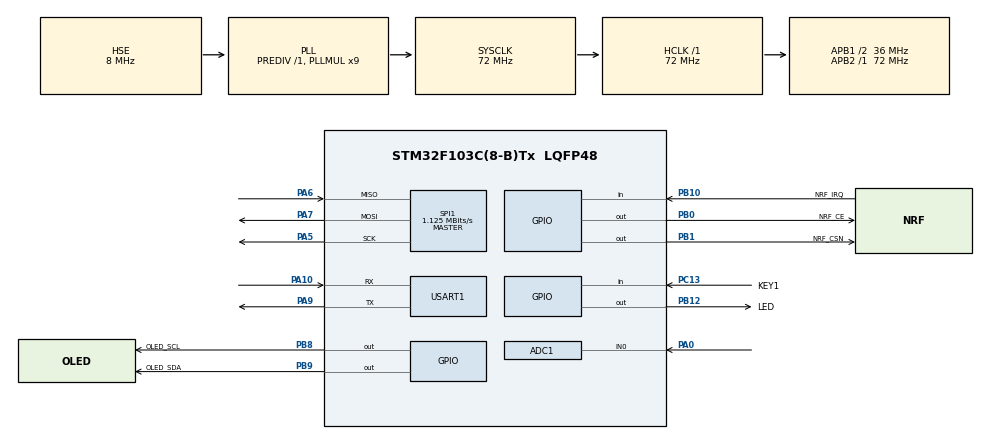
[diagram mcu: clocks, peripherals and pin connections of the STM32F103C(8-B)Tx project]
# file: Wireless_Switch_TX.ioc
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ADC1.Channel-1\#ChannelRegularConversion=ADC_CHANNEL_0
ADC1.NbrOfConversionFlag=1
ADC1.Rank-1\#ChannelRegularConversion=1
ADC1.SamplingTime-1\#ChannelRegularConversion=ADC_SAMPLETIME_1CYCLE_5
ADC1.master=1
Mcu.Family=STM32F1
Mcu.Name=STM32F103C(8-B)Tx
Mcu.Package=LQFP48
NVIC.PriorityGroup=NVIC_PRIORITYGROUP_4
PA0-WKUP.Signal=ADCx_IN0
PA10.Mode=Asynchronous
PA10.Signal=USART1_RX
PA13.Mode=Serial_Wire
PA13.Signal=SYS_JTMS-SWDIO
PA14.Mode=Serial_Wire
PA14.Signal=SYS_JTCK-SWCLK
PA5.Mode=Full_Duplex_Master
PA5.Signal=SPI1_SCK
PA6.Mode=Full_Duplex_Master
PA6.Signal=SPI1_MISO
PA7.Mode=Full_Duplex_Master
PA7.Signal=SPI1_MOSI
PA9.Mode=Asynchronous
PA9.Signal=USART1_TX
PB0.GPIO_Label=NRF_CE
PB0.Signal=GPIO_Output
PB1.GPIO_Label=NRF_CSN
PB1.PinState=GPIO_PIN_SET
PB1.Signal=GPIO_Output
PB10.GPIO_Label=NRF_IRQ
PB10.Signal=GPIO_Input
PB12.GPIO_Label=LED
PB12.Signal=GPIO_Output
PB8.GPIO_Label=OLED_SCL
PB8.GPIO_ModeDefaultOutputPP=GPIO_MODE_OUTPUT_OD
PB8.GPIO_PuPd=GPIO_PULLUP
PB8.GPIO_Speed=GPIO_SPEED_FREQ_HIGH
PB8.PinState=GPIO_PIN_SET
PB8.Signal=GPIO_Output
PB9.GPIO_Label=OLED_SDA
PB9.GPIO_ModeDefaultOutputPP=GPIO_MODE_OUTPUT_OD
PB9.GPIO_PuPd=GPIO_PULLUP
PB9.GPIO_Speed=GPIO_SPEED_FREQ_HIGH
PB9.PinState=GPIO_PIN_SET
PB9.Signal=GPIO_Output
PC13-TAMPER-RTC.GPIO_Label=KEY1
PC13-TAMPER-RTC.GPIO_PuPd=GPIO_PULLUP
PC13-TAMPER-RTC.Signal=GPIO_Input
PD0-OSC_IN.Mode=HSE-External-Oscillator
PD0-OSC_IN.Signal=RCC_OSC_IN
PD1-OSC_OUT.Mode=HSE-External-Oscillator
PD1-OSC_OUT.Signal=RCC_OSC_OUT
ProjectManager.HeapSize=0x200
ProjectManager.StackSize=0x400
ProjectManager.TargetToolchain=CMake
RCC.ADCPresc=RCC_ADCPCLK2_DIV8
RCC.AHBFreq_Value=72000000
RCC.APB1CLKDivider=RCC_HCLK_DIV2
RCC.APB1Freq_Value=36000000
RCC.APB1TimFreq_Value=72000000
RCC.APB2Freq_Value=72000000
RCC.APB2TimFreq_Value=72000000
RCC.HCLKFreq_Value=72000000
RCC.PLLMUL=RCC_PLL_MUL9
RCC.PLLSourceVirtual=RCC_PLLSOURCE_HSE
RCC.SYSCLKFreq_VALUE=72000000
RCC.SYSCLKSource=RCC_SYSCLKSOURCE_PLLCLK
RCC.USBFreq_Value=72000000
SH.ADCx_IN0.0=ADC1_IN0,IN0
SPI1.BaudRatePrescaler=SPI_BAUDRATEPRESCALER_64
SPI1.CalculateBaudRate=1.125 MBits/s
SPI1.Direction=SPI_DIRECTION_2LINES
SPI1.Mode=SPI_MODE_MASTER
SPI1.VirtualType=VM_MASTER
USART1.VirtualMode=VM_ASYNC
board=custom

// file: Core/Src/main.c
/* USER CODE BEGIN Header */
/**
  ******************************************************************************
  * @file           : main.c
  * @brief          : Main program body
  ******************************************************************************
  * @attention
  *
  * Copyright (c) 2026 STMicroelectronics.
  * All rights reserved.
  *
  * This software is licensed under terms that can be found in the LICENSE file
  * in the root directory of this software component.
  * If no LICENSE file comes with this software, it is provided AS-IS.
  *
  ******************************************************************************
  */
/* USER CODE END Header */
#include "main.h"
#include "adc.h"
#include "spi.h"
#include "usart.h"
#include "gpio.h"

/* USER CODE BEGIN Includes */
#include <stdio.h>
#include "OLED.h"
#include "nrf24l01p.h"
// 如果使用硬件I2C，取消注释下面这行
// #include "stm32f1xx_hal_i2c.h"
/* USER CODE END Includes */

/* USER CODE BEGIN PD */
#define NRF_PAIR_ID 5u  // nrf配对编号

static const uint8_t nrf_pair_addrs[][6] = {
  {0x12, 0x34, 0x56, 0x78, 0x9A}, // ID0
  {0xA1, 0xB2, 0xC3, 0xD4, 0xE5}, // ID1
  {0x55, 0x66, 0x77, 0x88, 0x99}, // ID2
  {0xAB, 0xCD, 0xEF, 0x11, 0x22}, // ID3
  {0x13, 0x57, 0x9B, 0xDF, 0x24}, // ID4
  {0x14, 0x58, 0x97, 0xD1, 0x25}, // ID5
};

// -------- 1. 电池参数 --------
// 电压计算系数：(3.3V / 4095) * 分压比 * 10 (转为0.1V)
// 原始代码逻辑: round(adc * 132 / 4095) -> 这里的 132 是经验值
#define BATT_CALC_FACTOR      132u
#define BATT_ADC_MAX          4095u
/* USER CODE END PD */

void SystemClock_Config(void);

/* USER CODE BEGIN 0 */
// adc_raw -> 0.1V 单位（四舍五入）
uint16_t Battery_AdcTo_0p1V(uint16_t adc_raw)
{
  return (uint16_t)(((uint32_t)adc_raw * BATT_CALC_FACTOR + (BATT_ADC_MAX / 2)) / BATT_ADC_MAX);//+2047是为了四舍五入
}

// 0.1V 单位 -> "x.yV"（手动拼字符，不用sprintf）
void Battery_0p1V_ToText(char *buf, uint16_t v_0p1)
{
  uint16_t v_int  = v_0p1 / 10u;  // 整数伏
  uint16_t v_frac = v_0p1 % 10u;  // 0.1伏

  // v_int 最大大概 0~13（单节锂电），所以最多两位
  int i = 0;

  if (v_int >= 10u) {
    buf[i++] = (char)('0' + (v_int / 10u));
    buf[i++] = (char)('0' + (v_int % 10u));
  } else {
    buf[i++] = (char)('0' + v_int);
  }

  buf[i++] = '.';
  buf[i++] = (char)('0' + v_frac);
  buf[i++] = 'V';
  buf[i++] = '\0';
}

//=====================电池end==================//

// 防弹版：将指令和数据打包成一个数组，一口气发出去，消除时钟间隙
void NRF_Force_Write_Reg(uint8_t reg, uint8_t value) {
  uint8_t buf[2] = { NRF24L01P_CMD_W_REGISTER | reg, value };
  HAL_GPIO_WritePin(GPIOB, GPIO_PIN_1, GPIO_PIN_RESET);
  HAL_SPI_Transmit(&hspi1, buf, 2, 100); // 连续发2个字节
  HAL_GPIO_WritePin(GPIOB, GPIO_PIN_1, GPIO_PIN_SET);
}

// 防弹版：使用 TransmitReceive 边发伪数据(0xFF)边接收真实数据
uint8_t NRF_Force_Read_Reg(uint8_t reg) {
  uint8_t tx_buf[2] = { NRF24L01P_CMD_R_REGISTER | reg, 0xFF };
  uint8_t rx_buf[2] = { 0, 0 };
  HAL_GPIO_WritePin(GPIOB, GPIO_PIN_1, GPIO_PIN_RESET);
  HAL_SPI_TransmitReceive(&hspi1, tx_buf, rx_buf, 2, 100); // 边发边收
  HAL_GPIO_WritePin(GPIOB, GPIO_PIN_1, GPIO_PIN_SET);
  return rx_buf[1]; // 返回第二个字节（真实数据）
}

// 防弹版：打包发送 5 字节地址
void NRF_Force_Set_Addr(uint8_t reg, uint8_t* addr) {
  uint8_t tx_buf[6];
  tx_buf[0] = NRF24L01P_CMD_W_REGISTER | reg;
  for(int i=0; i<5; i++) tx_buf[i+1] = addr[i];

  HAL_GPIO_WritePin(GPIOB, GPIO_PIN_1, GPIO_PIN_RESET);
  HAL_SPI_Transmit(&hspi1, tx_buf, 6, 100); // 连续发6个字节
  HAL_GPIO_WritePin(GPIOB, GPIO_PIN_1, GPIO_PIN_SET);
}

// 封装一个强力初始化函数，方便自愈调用
void Safe_NRF_Init(void) {
  nrf24l01p_tx_init(2500, _1Mbps);
  nrf24l01p_set_rf_tx_output_power(_12dBm); // 【关键修复1】降低功率，防止电池电压被拉垮导致单片机重启！

  uint8_t activate_cmd[2] = {0x50, 0x73};
  HAL_GPIO_WritePin(GPIOB, GPIO_PIN_1, GPIO_PIN_RESET);
  HAL_SPI_Transmit(&hspi1, activate_cmd, 2, 100);
  HAL_GPIO_WritePin(GPIOB, GPIO_PIN_1, GPIO_PIN_SET);

  NRF_Force_Write_Reg(NRF24L01P_REG_FEATURE, 0x06);
  NRF_Force_Write_Reg(NRF24L01P_REG_SETUP_RETR, 0x5F);
  NRF_Force_Write_Reg(NRF24L01P_REG_EN_AA, 0x01);
  NRF_Force_Write_Reg(NRF24L01P_REG_DYNPD, 0x01);
  NRF_Force_Write_Reg(NRF24L01P_REG_SETUP_AW, 0x03);
  NRF_Force_Write_Reg(NRF24L01P_REG_EN_RXADDR, 0x01);
  NRF_Force_Write_Reg(NRF24L01P_REG_RX_PW_P0, 8);

  const uint8_t *tx_addr = nrf_pair_addrs[NRF_PAIR_ID];
  NRF_Force_Set_Addr(NRF24L01P_REG_TX_ADDR, (uint8_t *)tx_addr);
  NRF_Force_Set_Addr(NRF24L01P_REG_RX_ADDR_P0, (uint8_t *)tx_addr);

  uint8_t config = NRF_Force_Read_Reg(NRF24L01P_REG_CONFIG);
  config |= 0x70;
  NRF_Force_Write_Reg(NRF24L01P_REG_CONFIG, config);

  nrf24l01p_flush_rx_fifo();
  nrf24l01p_flush_tx_fifo();
  NRF_Force_Write_Reg(NRF24L01P_REG_STATUS, 0x70);
}

// 记录远端开关的状态（0=关，1=开）
uint8_t remote_switch_state = 0;

/* USER CODE END 0 */

int main(void)
{

  /* MCU Configuration--------------------------------------------------------*/

  /* Reset of all peripherals, Initializes the Flash interface and the Systick. */
  HAL_Init();

  /* Configure the system clock */
  SystemClock_Config();

  /* Initialize all configured peripherals */
  MX_GPIO_Init();
  MX_SPI1_Init();
  MX_USART1_UART_Init();
  MX_ADC1_Init();
  // 如果使用硬件I2C，取消注释下面这行
  // MX_I2C1_Init();  // 现在在OLED.c中定义
  /* USER CODE BEGIN 2 */
  // 1. OLED 初始化与界面框架
  OLED_Init();
  OLED_Clear();
  // // 0.91寸(128x32)屏幕只有2行显示：Line 1/2
  OLED_ShowString(1, 1, "Bat:     ");
  OLED_ShowString(2, 1, "SW:OFF Sig:WAIT"); // 初始状态

  // 显示编号
  char id_str[6];
  sprintf(id_str, "ID:%d", NRF_PAIR_ID);
  OLED_ShowString(1, 11, id_str);

  nrf24l01p_tx_init(2500, _1Mbps);

  // ===================== 终极安全底层配置 =====================
  // 1. 安全解锁特性寄存器 (防止二次反转锁定)
  uint8_t feature = NRF_Force_Read_Reg(NRF24L01P_REG_FEATURE);
  if ((feature & 0x06) != 0x06) {
    NRF_Force_Write_Reg(NRF24L01P_REG_FEATURE, 0x06);
    if ((NRF_Force_Read_Reg(NRF24L01P_REG_FEATURE) & 0x06) != 0x06) {
      uint8_t activate_cmd[2] = {0x50, 0x73};
      HAL_GPIO_WritePin(GPIOB, GPIO_PIN_1, GPIO_PIN_RESET);
      HAL_SPI_Transmit(&hspi1, activate_cmd, 2, 100);
      HAL_GPIO_WritePin(GPIOB, GPIO_PIN_1, GPIO_PIN_SET);
      NRF_Force_Write_Reg(NRF24L01P_REG_FEATURE, 0x06);
    }
  }

  // 2. 覆盖带 Bug 的库函数，强制写入正确的重发与应答参数
  NRF_Force_Write_Reg(NRF24L01P_REG_SETUP_RETR, 0x5F); // ARD=1500us, ARC=15 (至关重要)
  NRF_Force_Write_Reg(NRF24L01P_REG_EN_AA, 0x01);
  NRF_Force_Write_Reg(NRF24L01P_REG_DYNPD, 0x01);
  NRF_Force_Write_Reg(NRF24L01P_REG_SETUP_AW, 0x03);
  NRF_Force_Write_Reg(NRF24L01P_REG_EN_RXADDR, 0x01);
  NRF_Force_Write_Reg(NRF24L01P_REG_RX_PW_P0, 8);      // 强制 8 字节，防乱码

  // 3. 配置地址
  const uint8_t *tx_addr = nrf_pair_addrs[NRF_PAIR_ID];
  NRF_Force_Set_Addr(NRF24L01P_REG_TX_ADDR, (uint8_t *)tx_addr);
  NRF_Force_Set_Addr(NRF24L01P_REG_RX_ADDR_P0, (uint8_t *)tx_addr);

  // 4. 屏蔽硬件中断引脚，防止单片机被外部干扰
  uint8_t config = NRF_Force_Read_Reg(NRF24L01P_REG_CONFIG);
  config |= 0x70;
  NRF_Force_Write_Reg(NRF24L01P_REG_CONFIG, config);

  nrf24l01p_flush_rx_fifo();
  nrf24l01p_flush_tx_fifo();
  NRF_Force_Write_Reg(NRF24L01P_REG_STATUS, 0x70);
  printf("TX Initialization Complete.\r\n");

  uint8_t tx_data[8] = {0xAA, 0x01, 0x02, 0x03, 0x04, 0x05, 0x06, 0xFF};
  char oled_buf[16];
  GPIO_PinState last_btn_state = GPIO_PIN_SET;
  uint32_t ping_counter = 0;

  /* USER CODE END 2 */

  /* Infinite loop */
  /* USER CODE BEGIN WHILE */

  while (1)
  {
    // =================== 读取并显示电池电量 ===================
    HAL_ADC_Start(&hadc1);
    HAL_ADC_PollForConversion(&hadc1, 100);
    uint16_t adc_value = HAL_ADC_GetValue(&hadc1);
    HAL_ADC_Stop(&hadc1);

    uint16_t voltage_0p1 = Battery_AdcTo_0p1V(adc_value);
    sprintf(oled_buf, "%d.%dV ", voltage_0p1 / 10, voltage_0p1 % 10);
    OLED_ShowString(1, 5, oled_buf); // 更新电压显示

    // 将电压数据打包，准备发送
    tx_data[1] = (uint8_t)(voltage_0p1 >> 8);
    tx_data[2] = (uint8_t)(voltage_0p1 & 0xFF);

    // =================== 3. 按键检测 与 数据发送逻辑 ===================
    GPIO_PinState current_btn_state = HAL_GPIO_ReadPin(GPIOC, GPIO_PIN_13);
    uint8_t need_to_send = 0;

    if (current_btn_state != last_btn_state) {
      HAL_Delay(20); // 软件消抖
      current_btn_state = HAL_GPIO_ReadPin(GPIOC, GPIO_PIN_13);

      if (current_btn_state != last_btn_state) {
        tx_data[3] = (current_btn_state == GPIO_PIN_RESET) ? 0x00 : 0x01;
        printf("[TX] Button Changed: %d\r\n", tx_data[3]);
        need_to_send = 1;
        ping_counter = 0;
        last_btn_state = current_btn_state;
      }
    } else {
      // 如果没有按键动作，每过约 1 秒钟主动发一次"心跳"查询功率
      ping_counter++;
      if (ping_counter >= 50) { // 50 * 20ms = 1000ms
        ping_counter = 0;
        tx_data[3] = 0xFF; // 0xFF 代表纯查询，RX收到后不改变开关状态
        need_to_send = 1;
      }
    }

    // 执行发送操作
     if (need_to_send) {
       // 【关键修复2】发送前健康检查，如果 NRF 跑飞了瞬间重启它
       if ((NRF_Force_Read_Reg(NRF24L01P_REG_SETUP_AW) & 0x03) != 0x03) {
         Safe_NRF_Init();
       }
      NRF_Force_Write_Reg(NRF24L01P_REG_STATUS, 0x70); // 清除状态位
      nrf24l01p_flush_rx_fifo(); // 发送前强清 RX 避免幽灵数据
      nrf24l01p_flush_tx_fifo();
      nrf24l01p_tx_transmit(tx_data);

      // CE 脉冲触发发射
      HAL_GPIO_WritePin(GPIOB, GPIO_PIN_0, GPIO_PIN_SET);
      HAL_Delay(1);
      HAL_GPIO_WritePin(GPIOB, GPIO_PIN_0, GPIO_PIN_RESET);

      // ============ 循环死等发送完毕 ============
      uint32_t timeout = 0;
      uint8_t status = 0;
      while (1) {
          status = NRF_Force_Read_Reg(NRF24L01P_REG_STATUS);
          if (status & 0x30) break; // TX_DS 或 MAX_RT 置位说明发完了
          if (++timeout > 50) break;    // 50ms 超时
          HAL_Delay(1);
      }

        // ============ 检查是否带回了功率数据 ============
        if (status & 0x40)
        {
          // RX_DR 表明收到了 ACK Payload
          uint8_t wid_cmd = 0x60; // 读取真实长度指令
          uint8_t wid = 0;
          HAL_GPIO_WritePin(GPIOB, GPIO_PIN_1, GPIO_PIN_RESET);
          HAL_SPI_Transmit(&hspi1, &wid_cmd, 1, 100);
          HAL_SPI_Receive(&hspi1, &wid, 1, 100);
          HAL_GPIO_WritePin(GPIOB, GPIO_PIN_1, GPIO_PIN_SET);

          if (wid > 0 && wid <= 32) {
            uint8_t rx_payload[32] = {0};
            uint8_t read_cmd = 0x61;
            HAL_GPIO_WritePin(GPIOB, GPIO_PIN_1, GPIO_PIN_RESET);
            HAL_SPI_Transmit(&hspi1, &read_cmd, 1, 100);
            HAL_SPI_Receive(&hspi1, rx_payload, wid, 100);
            HAL_GPIO_WritePin(GPIOB, GPIO_PIN_1, GPIO_PIN_SET);

            // 打印 TX 收到的 RX 返回数据 (带负载ACK)
            printf("[TX] Recv ACK Payload (Len=%d): %02X %02X %02X %02X %02X %02X %02X %02X\r\n",
                   wid, rx_payload[0], rx_payload[1], rx_payload[2], rx_payload[3],
                   rx_payload[4], rx_payload[5], rx_payload[6], rx_payload[7]);

            if (rx_payload[0] == 0xBB) {
              // 此时解析出来的 power 是毫瓦 (mW)
              uint16_t power_mw = (rx_payload[1] << 8) | rx_payload[2];
              // 提取第 3 字节的 MOS 管状态
              uint8_t rx_mos_state = rx_payload[3];
              char power_str[16];
              // %d 表示整数部分 (W)
              // %03d 表示小数部分，保留3位不够补零 (比如 20mW 显示为 .020)
              // 最后的 4 个空格用来彻底覆盖掉屏幕残留的 ig:WAIT
              // 根据状态拼接不同的字符串，同时保证末尾对齐覆盖
              if (rx_mos_state == 1) { // 1 代表高电平 (ON)
                sprintf(power_str, "P=%d.%03dW  ON    ", power_mw / 1000, power_mw % 1000);
              } else {                 // 0 代表低电平 (OFF)
                sprintf(power_str, "P=%d.%03dW  OFF   ", power_mw / 1000, power_mw % 1000);
              }

              OLED_ShowString(2, 1, power_str);
            }
          }
        }
        NRF_Force_Write_Reg(NRF24L01P_REG_STATUS, 0x70); // 彻底打扫战场
      }
    /* USER CODE END WHILE */

  }
}

void SystemClock_Config(void)
{
  RCC_OscInitTypeDef RCC_OscInitStruct = {0};
  RCC_ClkInitTypeDef RCC_ClkInitStruct = {0};
  RCC_PeriphCLKInitTypeDef PeriphClkInit = {0};

  /** Initializes the RCC Oscillators according to the specified parameters
  * in the RCC_OscInitTypeDef structure.
  */
  RCC_OscInitStruct.OscillatorType = RCC_OSCILLATORTYPE_HSE;
  RCC_OscInitStruct.HSEState = RCC_HSE_ON;
  RCC_OscInitStruct.HSEPredivValue = RCC_HSE_PREDIV_DIV1;
  RCC_OscInitStruct.HSIState = RCC_HSI_ON;
  RCC_OscInitStruct.PLL.PLLState = RCC_PLL_ON;
  RCC_OscInitStruct.PLL.PLLSource = RCC_PLLSOURCE_HSE;
  RCC_OscInitStruct.PLL.PLLMUL = RCC_PLL_MUL9;
  if (HAL_RCC_OscConfig(&RCC_OscInitStruct) != HAL_OK)
  {
    Error_Handler();
  }

  /** Initializes the CPU, AHB and APB buses clocks
  */
  RCC_ClkInitStruct.ClockType = RCC_CLOCKTYPE_HCLK|RCC_CLOCKTYPE_SYSCLK
                              |RCC_CLOCKTYPE_PCLK1|RCC_CLOCKTYPE_PCLK2;
  RCC_ClkInitStruct.SYSCLKSource = RCC_SYSCLKSOURCE_PLLCLK;
  RCC_ClkInitStruct.AHBCLKDivider = RCC_SYSCLK_DIV1;
  RCC_ClkInitStruct.APB1CLKDivider = RCC_HCLK_DIV2;
  RCC_ClkInitStruct.APB2CLKDivider = RCC_HCLK_DIV1;

  if (HAL_RCC_ClockConfig(&RCC_ClkInitStruct, FLASH_LATENCY_2) != HAL_OK)
  {
    Error_Handler();
  }
  PeriphClkInit.PeriphClockSelection = RCC_PERIPHCLK_ADC;
  PeriphClkInit.AdcClockSelection = RCC_ADCPCLK2_DIV8;
  if (HAL_RCCEx_PeriphCLKConfig(&PeriphClkInit) != HAL_OK)
  {
    Error_Handler();
  }
}

void Error_Handler(void)
{
  __disable_irq();
  while (1)
  {
  }
}
